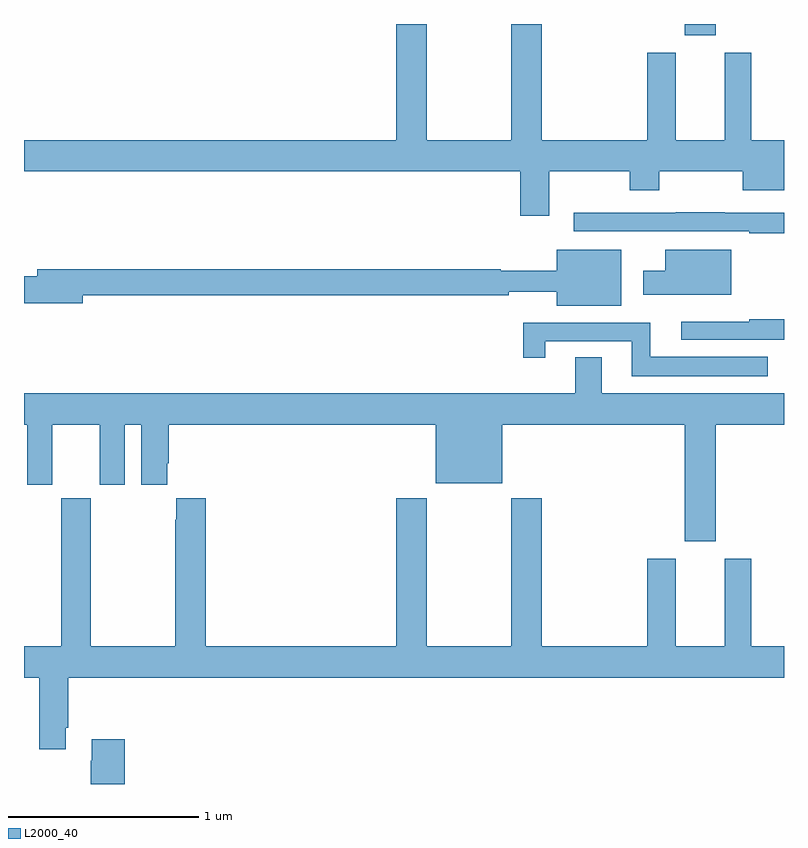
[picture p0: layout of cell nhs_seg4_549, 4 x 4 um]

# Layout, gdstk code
import gdstk
lib = gdstk.Library(unit=1e-6, precision=1e-09)
def R(c, l, rs):  # rectangles x0, y0, x1, y1
    for r in rs: c.add(gdstk.rectangle(r[:2], r[2:], *l))
def P(c, l, *ps):  # polygons
    for p in ps: c.add(gdstk.Polygon(p, *l))
L2000_40 = (2000, 40)

nhs_seg4_549 = lib.new_cell('nhs_seg4_549')
R(nhs_seg4_549, L2000_40, [(140.477,826.842,140.641,826.9)])
P(nhs_seg4_549, L2000_40, [(139.765,826.124),(140.188,826.124),(140.188,826.025),(140.343,826.025),(140.343,826.124),(140.783,826.124),(140.783,826.025),(141,826.025),(141,826.288),(140.827,826.288),(140.827,826.75),(140.687,826.75),(140.687,826.288),(140.431,826.288),(140.431,826.75),(140.279,826.75),(140.279,826.288),(139.724,826.288),(139.724,826.9),(139.564,826.9),(139.564,826.288),(139.119,826.288),(139.119,826.9),(138.959,826.9),(138.959,826.288),(137,826.288),(137,826.124),(139.613,826.124),(139.613,825.891),(139.765,825.891)],
  [(141,825.906),(140.687,825.906),(140.687,825.908),(140.431,825.908),(140.431,825.906),(139.893,825.906),(139.893,825.81),(140.818,825.81),(140.818,825.798),(141,825.798)],
  [(140.143,825.712),(139.805,825.712),(139.805,825.601),(139.509,825.601),(139.509,825.608),(137.069,825.608),(137.069,825.572),(137,825.572),(137,825.43),(137.308,825.43),(137.308,825.472),(139.55,825.472),(139.55,825.491),(139.805,825.491),(139.805,825.416),(140.143,825.416)],
  [(140.722,825.712),(140.375,825.712),(140.375,825.601),(140.258,825.601),(140.258,825.476),(140.722,825.476)],
  [(141,825.346),(140.818,825.346),(140.818,825.334),(140.46,825.334),(140.46,825.237),(141,825.237)],
  [(140.914,825.148),(140.296,825.148),(140.296,825.327),(139.627,825.327),(139.627,825.144),(139.744,825.144),(139.744,825.231),(140.198,825.231),(140.198,825.047),(140.914,825.047)],
  [(140.641,824.792),(141,824.792),(141,824.956),(140.041,824.956),(140.041,825.146),(139.901,825.146),(139.901,824.956),(137,824.956),(137,824.792),(137.018,824.792),(137.018,824.475),(137.149,824.475),(137.149,824.792),(137.399,824.792),(137.399,824.475),(137.53,824.475),(137.53,824.792),(137.618,824.792),(137.618,824.475),(137.755,824.475),(137.755,824.587),(137.762,824.587),(137.762,824.792),(139.166,824.792),(139.166,824.483),(139.516,824.483),(139.516,824.792),(140.477,824.792),(140.477,824.178),(140.641,824.178)],
  [(137.221,823.195),(137.234,823.195),(137.234,823.46),(141,823.46),(141,823.624),(140.827,823.624),(140.827,824.086),(140.687,824.086),(140.687,823.624),(140.431,823.624),(140.431,824.086),(140.279,824.086),(140.279,823.624),(139.724,823.624),(139.724,824.404),(139.564,824.404),(139.564,823.624),(139.119,823.624),(139.119,824.404),(138.959,824.404),(138.959,823.624),(137.957,823.624),(137.957,824.404),(137.801,824.404),(137.801,824.291),(137.797,824.291),(137.797,823.624),(137.352,823.624),(137.352,824.404),(137.197,824.404),(137.197,823.624),(137,823.624),(137,823.46),(137.081,823.46),(137.081,823.083),(137.221,823.083)],
  [(137.53,823.135),(137.357,823.135),(137.357,823.022),(137.35,823.022),(137.35,822.9),(137.53,822.9)])

lib.write_gds('nhs_seg4_549.gds')
